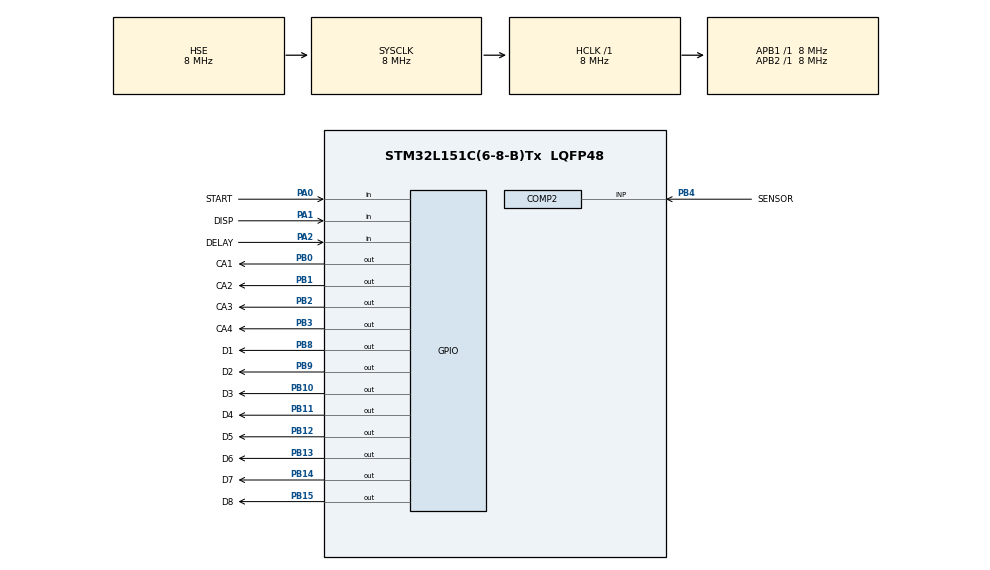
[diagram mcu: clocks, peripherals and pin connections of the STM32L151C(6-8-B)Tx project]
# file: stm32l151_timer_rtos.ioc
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COMP2.InvertingInput=COMP_INVERTINGINPUT_VREFINT
COMP2.NonInvertingInput=COMP_NONINVERTINGINPUT_PB4
FREERTOS.BinarySemaphores01=captureSem
FREERTOS.HEAP_NUMBER=1
FREERTOS.INCLUDE_xTaskAbortDelay=0
FREERTOS.INCLUDE_xTaskGetHandle=0
FREERTOS.MEMORY_ALLOCATION=0
FREERTOS.Mutexes01=counterMutex
FREERTOS.Queues01=buttonQueue,1,uint16_t,NULL,Dynamic,NULL,NULL;counterQueue,1,uint16_t,NULL,Dynamic,NULL,NULL;captureQueue,1,uint16_t,NULL,Dynamic,NULL,NULL
FREERTOS.Tasks01=mainTask,0,128,StartMainTask,Default,NULL,Dynamic,NULL,NULL;buttonTask,-2,128,StartButtonTask,Default,NULL,Dynamic,NULL,NULL;counterTask,1,128,StartCounterTask,Default,NULL,Dynamic,NULL,NULL;captureTask,1,128,StartCaptureTask,Default,NULL,Dynamic,NULL,NULL
FREERTOS.configTOTAL_HEAP_SIZE=4096
FREERTOS.configUSE_DAEMON_TASK_STARTUP_HOOK=0
Mcu.Family=STM32L1
Mcu.Name=STM32L151C(6-8-B)Tx
Mcu.Package=LQFP48
NVIC.PriorityGroup=NVIC_PRIORITYGROUP_4
NVIC.TIM3_IRQn=true\:6\:0\:true\:false\:true\:true
NVIC.TIM4_IRQn=true\:5\:0\:false\:false\:true\:true
PA0-WKUP1.GPIO_Label=START
PA0-WKUP1.GPIO_Mode=GPIO_MODE_INPUT
PA0-WKUP1.GPIO_PuPd=GPIO_PULLUP
PA0-WKUP1.Signal=GPIO_Input
PA1.GPIO_Label=DISP
PA1.GPIO_Mode=GPIO_MODE_INPUT
PA1.GPIO_PuPd=GPIO_PULLUP
PA1.Signal=GPIO_Input
PA13.GPIO_Label=SWDIO
PA13.Mode=Serial_Wire
PA13.Signal=SYS_JTMS-SWDIO
PA14.GPIO_Label=SWCLK
PA14.Mode=Serial_Wire
PA14.Signal=SYS_JTCK-SWCLK
PA2.GPIO_Label=DELAY
PA2.GPIO_Mode=GPIO_MODE_INPUT
PA2.GPIO_PuPd=GPIO_PULLUP
PA2.Signal=GPIO_Input
PB0.GPIO_Label=CA1
PB0.Signal=GPIO_Output
PB1.GPIO_Label=CA2
PB1.Signal=GPIO_Output
PB10.GPIO_Label=D3
PB10.Signal=GPIO_Output
PB11.GPIO_Label=D4
PB11.Signal=GPIO_Output
PB12.GPIO_Label=D5
PB12.Signal=GPIO_Output
PB13.GPIO_Label=D6
PB13.Signal=GPIO_Output
PB14.GPIO_Label=D7
PB14.Signal=GPIO_Output
PB15.GPIO_Label=D8
PB15.Signal=GPIO_Output
PB2.GPIO_Label=CA3
PB2.Signal=GPIO_Output
PB3.GPIO_Label=CA4
PB3.Signal=GPIO_Output
PB4.GPIO_Label=SENSOR
PB4.Mode=INP
PB4.Signal=COMP2_INP
PB8.GPIO_Label=D1
PB8.Signal=GPIO_Output
PB9.GPIO_Label=D2
PB9.Signal=GPIO_Output
PH0-OSC_IN.GPIO_Label=OSC_IN
PH0-OSC_IN.Mode=HSE-External-Oscillator
PH0-OSC_IN.Signal=RCC_OSC_IN
PH1-OSC_OUT.GPIO_Label=OSC_OUT
PH1-OSC_OUT.Mode=HSE-External-Oscillator
PH1-OSC_OUT.Signal=RCC_OSC_OUT
ProjectManager.HeapSize=0x200
ProjectManager.StackSize=0x400
ProjectManager.TargetToolchain=SW4STM32
RCC.ADCEnable=false
RCC.AHBFreq_Value=8000000
RCC.APB1Freq_Value=8000000
RCC.APB1TimFreq_Value=8000000
RCC.APB2Freq_Value=8000000
RCC.APB2TimFreq_Value=8000000
RCC.EnableCSSLSE=false
RCC.EnableHSE=true
RCC.EnableHSELCDDevisor=false
RCC.EnableHSERTCDevisor=false
RCC.EnableLSE=false
RCC.EnableLSERTC=false
RCC.EnbaleCSS=false
RCC.HCLKFreq_Value=8000000
RCC.HSEState=RCC_HSE_ON
RCC.HSE_VALUE=8000000
RCC.HSI_VALUE=16000000
RCC.IWDGEnable=false
RCC.LCDEnable=false
RCC.LSE_VALUE=32768
RCC.LSIState=RCC_LSI_OFF
RCC.MCOEnable=false
RCC.MSI_VALUE=2097000
RCC.OscillatorTypeHSE=RCC_OSCILLATORTYPE_HSE
RCC.OscillatorTypeMSI=RCC_OSCILLATORTYPE_MSI
RCC.PLLSource=RCC_PLLSOURCE_HSI
RCC.PLLSourceVirtual=RCC_PLLSOURCE_HSI
RCC.PLLState=RCC_PLL_OFF
RCC.RTCEnable=false
RCC.SYSCLKFreq_VALUE=8000000
RCC.SYSCLKSource=RCC_SYSCLKSOURCE_HSE
RCC.USBEnable=false
RCC.VCOOutputFreq_Value=48000000
TIM3.Channel-Output\ Compare1\ No\ Output=TIM_CHANNEL_1
TIM3.Channel-Output\ Compare2\ No\ Output=TIM_CHANNEL_2
TIM3.Channel-Output\ Compare3\ No\ Output=TIM_CHANNEL_3
TIM3.Channel-Output\ Compare4\ No\ Output=TIM_CHANNEL_4
TIM3.DefaultOCFastMode-Output\ Compare1\ No\ Output=TIM_OCFAST_DISABLE
TIM3.DefaultOCFastMode-Output\ Compare2\ No\ Output=TIM_OCFAST_DISABLE
TIM3.DefaultOCFastMode-Output\ Compare3\ No\ Output=TIM_OCFAST_DISABLE
TIM3.DefaultOCFastMode-Output\ Compare4\ No\ Output=TIM_OCFAST_DISABLE
TIM3.Period=100-1
TIM3.Prescaler=800-1
TIM3.Pulse-Output\ Compare1\ No\ Output=12-1
TIM3.Pulse-Output\ Compare2\ No\ Output=37-1
TIM3.Pulse-Output\ Compare3\ No\ Output=62-1
TIM3.Pulse-Output\ Compare4\ No\ Output=87-1
TIM3.TIM_MasterOutputTrigger=TIM_TRGO_UPDATE
TIM4.Period=60000-1
VP_COMP2_VS_VREFINT.Mode=VREFINT
VP_FREERTOS_VS_ENABLE.Mode=Enabled
VP_TIM3_VS_ClockSourceINT.Mode=Internal
VP_TIM3_VS_no_output1.Mode=Output Compare1 No Output
VP_TIM3_VS_no_output2.Mode=Output Compare2 No Output
VP_TIM3_VS_no_output3.Mode=Output Compare3 No Output
VP_TIM3_VS_no_output4.Mode=Output Compare4 No Output
VP_TIM4_VS_ClockSourceITR.Mode=TriggerSource_ITR2
VP_TIM4_VS_ControllerModeClock.Mode=Clock Mode
board=stm32l151_timer_rtos

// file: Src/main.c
/**
  ******************************************************************************
  * File Name          : main.c
  * Description        : Main program body
  ******************************************************************************
  *
  * Copyright (c) 2017 STMicroelectronics International N.V.
  * All rights reserved.
  *
  * Redistribution and use in source and binary forms, with or without
  * modification, are permitted, provided that the following conditions are met:
  *
  * 1. Redistribution of source code must retain the above copyright notice,
  *    this list of conditions and the following disclaimer.
  * 2. Redistributions in binary form must reproduce the above copyright notice,
  *    this list of conditions and the following disclaimer in the documentation
  *    and/or other materials provided with the distribution.
  * 3. Neither the name of STMicroelectronics nor the names of other
  *    contributors to this software may be used to endorse or promote products
  *    derived from this software without specific written permission.
  * 4. This software, including modifications and/or derivative works of this
  *    software, must execute solely and exclusively on microcontroller or
  *    microprocessor devices manufactured by or for STMicroelectronics.
  * 5. Redistribution and use of this software other than as permitted under
  *    this license is void and will automatically terminate your rights under
  *    this license.
  *
  * THIS SOFTWARE IS PROVIDED BY STMICROELECTRONICS AND CONTRIBUTORS "AS IS"
  * AND ANY EXPRESS, IMPLIED OR STATUTORY WARRANTIES, INCLUDING, BUT NOT
  * LIMITED TO, THE IMPLIED WARRANTIES OF MERCHANTABILITY, FITNESS FOR A
  * PARTICULAR PURPOSE AND NON-INFRINGEMENT OF THIRD PARTY INTELLECTUAL PROPERTY
  * RIGHTS ARE DISCLAIMED TO THE FULLEST EXTENT PERMITTED BY LAW. IN NO EVENT
  * SHALL STMICROELECTRONICS OR CONTRIBUTORS BE LIABLE FOR ANY DIRECT, INDIRECT,
  * INCIDENTAL, SPECIAL, EXEMPLARY, OR CONSEQUENTIAL DAMAGES (INCLUDING, BUT NOT
  * LIMITED TO, PROCUREMENT OF SUBSTITUTE GOODS OR SERVICES; LOSS OF USE, DATA,
  * OR PROFITS; OR BUSINESS INTERRUPTION) HOWEVER CAUSED AND ON ANY THEORY OF
  * LIABILITY, WHETHER IN CONTRACT, STRICT LIABILITY, OR TORT (INCLUDING
  * NEGLIGENCE OR OTHERWISE) ARISING IN ANY WAY OUT OF THE USE OF THIS SOFTWARE,
  * EVEN IF ADVISED OF THE POSSIBILITY OF SUCH DAMAGE.
  *
  ******************************************************************************
  */
#include "main.h"
#include "stm32l1xx_hal.h"
#include "cmsis_os.h"

/* USER CODE BEGIN Includes */

typedef uint8_t bool;
#define false 0
#define true (!false)

#define MESSAGE_BUTTON_START 0
#define MESSAGE_BUTTON_DISP  1
#define MESSAGE_EXIT_RUN    99

/* USER CODE END Includes */

COMP_HandleTypeDef hcomp2;

TIM_HandleTypeDef htim3;
TIM_HandleTypeDef htim4;

osThreadId mainTaskHandle;
osThreadId buttonTaskHandle;
osThreadId counterTaskHandle;
osThreadId captureTaskHandle;
osMessageQId buttonQueueHandle;
osMessageQId counterQueueHandle;
osMessageQId captureQueueHandle;
osMutexId counterMutexHandle;
osSemaphoreId captureSemHandle;

/* USER CODE BEGIN PV */
/* Private variables ---------------------------------------------------------*/

/* USER CODE END PV */

void SystemClock_Config(void);
void Error_Handler(void);
static void MX_GPIO_Init(void);
static void MX_TIM3_Init(void);
static void MX_TIM4_Init(void);
static void MX_COMP2_Init(void);
void StartMainTask(void const * argument);
void StartButtonTask(void const * argument);
void StartCounterTask(void const * argument);
void StartCaptureTask(void const * argument);

/* USER CODE BEGIN PFP */
/* Private function prototypes -----------------------------------------------*/
const uint16_t digdata[] = {0xe700, 0x2100, 0xcb00, 0x6b00, 0x2d00, 0x6e00, 0xee00, 0x2300, 0xef00, 0x6f00};
const uint32_t resetdigit = 0xff00000f;

__IO uint16_t leddat[] = {0x0000, 0x0000, 0x0000, 0x0000};

__IO uint16_t counts[10] = {0};
__IO uint32_t count_num;

/* USER CODE END PFP */

/* USER CODE BEGIN 0 */
void HAL_TIM_OC_DelayElapsedCallback(TIM_HandleTypeDef *htim)
{
  if (htim->Instance == TIM3) {
    if (htim->Channel == HAL_TIM_ACTIVE_CHANNEL_1) {
      GPIOB->BSRR = resetdigit;
      GPIOB->BSRR = leddat[0] | 0x00010000;
    } else
    if (htim->Channel == HAL_TIM_ACTIVE_CHANNEL_2) {
      GPIOB->BSRR = resetdigit;
      GPIOB->BSRR = leddat[1] | 0x00020000;
    } else
    if (htim->Channel == HAL_TIM_ACTIVE_CHANNEL_3) {
      GPIOB->BSRR = resetdigit;
      GPIOB->BSRR = leddat[2] | 0x00040000;
    } else
    if (htim->Channel == HAL_TIM_ACTIVE_CHANNEL_4) {
      GPIOB->BSRR = resetdigit;
      GPIOB->BSRR = leddat[3] | 0x00080000;
    }
  }
}

void HAL_TIM_PeriodElapsedCallback(TIM_HandleTypeDef *htim)
{
  if (htim->Instance == TIM3) {
    uint16_t cnt = __HAL_TIM_GET_COUNTER(&htim4);
    if (cnt >= 60000) {
      cnt -= 50000;
      __HAL_TIM_SET_COUNTER(&htim4, cnt);
    }
    osMessagePut(counterQueueHandle, cnt, 0);
  }
}

void HAL_TIM_IC_CaptureCallback(TIM_HandleTypeDef *htim)
{
  if (htim->Instance == TIM4) {
    if (htim->Channel == HAL_TIM_ACTIVE_CHANNEL_4) {
      TIM4->CCER &= ~(TIM_CCER_CC4E);
      TIM4->DIER &= ~(TIM_DIER_CC4IE);

      uint16_t cnt = __HAL_TIM_GET_COMPARE(&htim4, TIM_CHANNEL_4);
      osMessagePut(captureQueueHandle, cnt, 0);
    }
  }
}

void set_led(uint16_t cnt)
{
  leddat[0] = digdata[cnt % 10];
  leddat[1] = digdata[(cnt / 10) % 10];
  leddat[2] = digdata[(cnt / 100) % 10] | 0x1000;
  if (cnt >= 1000) {
    leddat[3] = digdata[(cnt / 1000) % 10];
  } else {
    leddat[3] = 0;
  }
}

void set_led_blink(uint16_t cnt, bool dot)
{
  leddat[0] = digdata[cnt % 10];
  leddat[1] = digdata[(cnt / 10) % 10];
  if (dot) {
    leddat[2] = digdata[(cnt / 100) % 10] | 0x1000;
  } else {
    leddat[2] = digdata[(cnt / 100) % 10];
  }
  if (cnt >= 1000) {
    leddat[3] = digdata[(cnt / 1000) % 10];
  } else {
    leddat[3] = 0;
  }
}
/* USER CODE END 0 */

int main(void)
{

  /* MCU Configuration----------------------------------------------------------*/

  /* Reset of all peripherals, Initializes the Flash interface and the Systick. */
  HAL_Init();

  /* Configure the system clock */
  SystemClock_Config();

  /* Initialize all configured peripherals */
  MX_GPIO_Init();
  MX_TIM3_Init();

  /* USER CODE BEGIN 2 */

  HAL_TIM_Base_Start(&htim3);
  __HAL_TIM_CLEAR_IT(&htim3, TIM_IT_UPDATE | TIM_IT_CC1 | TIM_IT_CC2 | TIM_IT_CC3 | TIM_IT_CC4);
  __HAL_TIM_ENABLE_IT(&htim3, TIM_IT_CC1);
  __HAL_TIM_ENABLE_IT(&htim3, TIM_IT_CC2);
  __HAL_TIM_ENABLE_IT(&htim3, TIM_IT_CC3);
  __HAL_TIM_ENABLE_IT(&htim3, TIM_IT_CC4);

  /* USER CODE END 2 */

  /* Create the mutex(es) */
  /* definition and creation of counterMutex */
  osMutexDef(counterMutex);
  counterMutexHandle = osMutexCreate(osMutex(counterMutex));

  /* Create the semaphores(s) */
  /* definition and creation of captureSem */
  osSemaphoreDef(captureSem);
  captureSemHandle = osSemaphoreCreate(osSemaphore(captureSem), 1);

  /* Create the thread(s) */
  /* definition and creation of mainTask */
  osThreadDef(mainTask, StartMainTask, osPriorityNormal, 0, 128);
  mainTaskHandle = osThreadCreate(osThread(mainTask), NULL);

  /* definition and creation of buttonTask */
  osThreadDef(buttonTask, StartButtonTask, osPriorityLow, 0, 128);
  buttonTaskHandle = osThreadCreate(osThread(buttonTask), NULL);

  /* definition and creation of counterTask */
  osThreadDef(counterTask, StartCounterTask, osPriorityAboveNormal, 0, 128);
  counterTaskHandle = osThreadCreate(osThread(counterTask), NULL);

  /* definition and creation of captureTask */
  osThreadDef(captureTask, StartCaptureTask, osPriorityAboveNormal, 0, 128);
  captureTaskHandle = osThreadCreate(osThread(captureTask), NULL);

  /* Create the queue(s) */
  /* definition and creation of buttonQueue */
  osMessageQDef(buttonQueue, 1, uint16_t);
  buttonQueueHandle = osMessageCreate(osMessageQ(buttonQueue), NULL);

  /* definition and creation of counterQueue */
  osMessageQDef(counterQueue, 1, uint16_t);
  counterQueueHandle = osMessageCreate(osMessageQ(counterQueue), NULL);

  /* definition and creation of captureQueue */
  osMessageQDef(captureQueue, 1, uint16_t);
  captureQueueHandle = osMessageCreate(osMessageQ(captureQueue), NULL);

  /* Start scheduler */
  osKernelStart();

  /* We should never get here as control is now taken by the scheduler */

  /* Infinite loop */
  while (1)
  {

  }

}

/** System Clock Configuration
*/
void SystemClock_Config(void)
{

  RCC_OscInitTypeDef RCC_OscInitStruct;
  RCC_ClkInitTypeDef RCC_ClkInitStruct;

    /**Configure the main internal regulator output voltage
    */
  __HAL_PWR_VOLTAGESCALING_CONFIG(PWR_REGULATOR_VOLTAGE_SCALE1);

    /**Initializes the CPU, AHB and APB busses clocks
    */
  RCC_OscInitStruct.OscillatorType = RCC_OSCILLATORTYPE_HSE;
  RCC_OscInitStruct.HSEState = RCC_HSE_ON;
  RCC_OscInitStruct.PLL.PLLState = RCC_PLL_NONE;
  if (HAL_RCC_OscConfig(&RCC_OscInitStruct) != HAL_OK)
  {
    Error_Handler();
  }

    /**Initializes the CPU, AHB and APB busses clocks
    */
  RCC_ClkInitStruct.ClockType = RCC_CLOCKTYPE_HCLK|RCC_CLOCKTYPE_SYSCLK
                              |RCC_CLOCKTYPE_PCLK1|RCC_CLOCKTYPE_PCLK2;
  RCC_ClkInitStruct.SYSCLKSource = RCC_SYSCLKSOURCE_HSE;
  RCC_ClkInitStruct.AHBCLKDivider = RCC_SYSCLK_DIV1;
  RCC_ClkInitStruct.APB1CLKDivider = RCC_HCLK_DIV1;
  RCC_ClkInitStruct.APB2CLKDivider = RCC_HCLK_DIV1;

  if (HAL_RCC_ClockConfig(&RCC_ClkInitStruct, FLASH_LATENCY_0) != HAL_OK)
  {
    Error_Handler();
  }

    /**Configure the Systick interrupt time
    */
  HAL_SYSTICK_Config(HAL_RCC_GetHCLKFreq()/1000);

    /**Configure the Systick
    */
  HAL_SYSTICK_CLKSourceConfig(SYSTICK_CLKSOURCE_HCLK);

  /* SysTick_IRQn interrupt configuration */
  HAL_NVIC_SetPriority(SysTick_IRQn, 15, 0);
}

/* COMP2 init function */
static void MX_COMP2_Init(void)
{

  hcomp2.Instance = COMP2;
  hcomp2.Init.InvertingInput = COMP_INVERTINGINPUT_VREFINT;
  hcomp2.Init.NonInvertingInput = COMP_NONINVERTINGINPUT_PB4;
  hcomp2.Init.Output = COMP_OUTPUT_TIM4IC4;
  hcomp2.Init.Mode = COMP_MODE_LOWSPEED;
  hcomp2.Init.WindowMode = COMP_WINDOWMODE_DISABLE;
  hcomp2.Init.TriggerMode = COMP_TRIGGERMODE_IT_RISING;
  if (HAL_COMP_Init(&hcomp2) != HAL_OK)
  {
    Error_Handler();
  }

}

/* TIM3 init function */
static void MX_TIM3_Init(void)
{

  TIM_ClockConfigTypeDef sClockSourceConfig;
  TIM_MasterConfigTypeDef sMasterConfig;
  TIM_OC_InitTypeDef sConfigOC;

  htim3.Instance = TIM3;
  htim3.Init.Prescaler = 800-1;
  htim3.Init.CounterMode = TIM_COUNTERMODE_UP;
  htim3.Init.Period = 100-1;
  htim3.Init.ClockDivision = TIM_CLOCKDIVISION_DIV1;
  if (HAL_TIM_Base_Init(&htim3) != HAL_OK)
  {
    Error_Handler();
  }

  sClockSourceConfig.ClockSource = TIM_CLOCKSOURCE_INTERNAL;
  if (HAL_TIM_ConfigClockSource(&htim3, &sClockSourceConfig) != HAL_OK)
  {
    Error_Handler();
  }

  if (HAL_TIM_OC_Init(&htim3) != HAL_OK)
  {
    Error_Handler();
  }

  sMasterConfig.MasterOutputTrigger = TIM_TRGO_UPDATE;
  sMasterConfig.MasterSlaveMode = TIM_MASTERSLAVEMODE_DISABLE;
  if (HAL_TIMEx_MasterConfigSynchronization(&htim3, &sMasterConfig) != HAL_OK)
  {
    Error_Handler();
  }

  sConfigOC.OCMode = TIM_OCMODE_TIMING;
  sConfigOC.Pulse = 12-1;
  sConfigOC.OCPolarity = TIM_OCPOLARITY_HIGH;
  sConfigOC.OCFastMode = TIM_OCFAST_DISABLE;
  if (HAL_TIM_OC_ConfigChannel(&htim3, &sConfigOC, TIM_CHANNEL_1) != HAL_OK)
  {
    Error_Handler();
  }

  sConfigOC.Pulse = 37-1;
  if (HAL_TIM_OC_ConfigChannel(&htim3, &sConfigOC, TIM_CHANNEL_2) != HAL_OK)
  {
    Error_Handler();
  }

  sConfigOC.Pulse = 62-1;
  if (HAL_TIM_OC_ConfigChannel(&htim3, &sConfigOC, TIM_CHANNEL_3) != HAL_OK)
  {
    Error_Handler();
  }

  sConfigOC.Pulse = 87-1;
  if (HAL_TIM_OC_ConfigChannel(&htim3, &sConfigOC, TIM_CHANNEL_4) != HAL_OK)
  {
    Error_Handler();
  }

}

/* TIM4 init function */
static void MX_TIM4_Init(void)
{

  TIM_SlaveConfigTypeDef sSlaveConfig;
  TIM_MasterConfigTypeDef sMasterConfig;
  TIM_IC_InitTypeDef sConfigIC;

  htim4.Instance = TIM4;
  htim4.Init.Prescaler = 0;
  htim4.Init.CounterMode = TIM_COUNTERMODE_UP;
  htim4.Init.Period = 65536 - 1;
  htim4.Init.ClockDivision = TIM_CLOCKDIVISION_DIV1;
  if (HAL_TIM_Base_Init(&htim4) != HAL_OK)
  {
    Error_Handler();
  }

  sSlaveConfig.SlaveMode = TIM_SLAVEMODE_EXTERNAL1;
  sSlaveConfig.InputTrigger = TIM_TS_ITR2;
  if (HAL_TIM_SlaveConfigSynchronization(&htim4, &sSlaveConfig) != HAL_OK)
  {
    Error_Handler();
  }

  if (HAL_TIM_IC_Init(&htim4) != HAL_OK)
  {
    Error_Handler();
  }

  sMasterConfig.MasterOutputTrigger = TIM_TRGO_RESET;
  sMasterConfig.MasterSlaveMode = TIM_MASTERSLAVEMODE_DISABLE;
  if (HAL_TIMEx_MasterConfigSynchronization(&htim4, &sMasterConfig) != HAL_OK)
  {
    Error_Handler();
  }

  sConfigIC.ICPolarity = TIM_INPUTCHANNELPOLARITY_RISING;
  sConfigIC.ICSelection = TIM_ICSELECTION_DIRECTTI;
  sConfigIC.ICPrescaler = TIM_ICPSC_DIV1;
  sConfigIC.ICFilter = 0;
  if (HAL_TIM_IC_ConfigChannel(&htim4, &sConfigIC, TIM_CHANNEL_4) != HAL_OK)
  {
    Error_Handler();
  }
}

/** Configure pins as
        * Analog
        * Input
        * Output
        * EVENT_OUT
        * EXTI
*/
static void MX_GPIO_Init(void)
{

  GPIO_InitTypeDef GPIO_InitStruct;

  /* GPIO Ports Clock Enable */
  __HAL_RCC_GPIOH_CLK_ENABLE();
  __HAL_RCC_GPIOA_CLK_ENABLE();
  __HAL_RCC_GPIOB_CLK_ENABLE();

  /*Configure GPIO pin Output Level */
  HAL_GPIO_WritePin(GPIOB, CA1_Pin|CA2_Pin|CA3_Pin|D3_Pin
                          |D4_Pin|D5_Pin|D6_Pin|D7_Pin
                          |D8_Pin|CA4_Pin|D1_Pin|D2_Pin, GPIO_PIN_RESET);

  /*Configure GPIO pins : START_Pin DISP_Pin DELAY_Pin */
  GPIO_InitStruct.Pin = START_Pin|DISP_Pin|DELAY_Pin;
  GPIO_InitStruct.Mode = GPIO_MODE_INPUT;
  GPIO_InitStruct.Pull = GPIO_PULLUP;
  HAL_GPIO_Init(GPIOA, &GPIO_InitStruct);

  /*Configure GPIO pins : CA1_Pin CA2_Pin CA3_Pin D3_Pin
                           D4_Pin D5_Pin D6_Pin D7_Pin
                           D8_Pin CA4_Pin D1_Pin D2_Pin */
  GPIO_InitStruct.Pin = CA1_Pin|CA2_Pin|CA3_Pin|D3_Pin
                          |D4_Pin|D5_Pin|D6_Pin|D7_Pin
                          |D8_Pin|CA4_Pin|D1_Pin|D2_Pin;
  GPIO_InitStruct.Mode = GPIO_MODE_OUTPUT_PP;
  GPIO_InitStruct.Pull = GPIO_NOPULL;
  GPIO_InitStruct.Speed = GPIO_SPEED_FREQ_LOW;
  HAL_GPIO_Init(GPIOB, &GPIO_InitStruct);

}

/* StartMainTask function */
void StartMainTask(void const * argument)
{

  /* USER CODE BEGIN 5 */
  uint32_t disp_num = 0;
  count_num = 0;
  set_led(0);

  /* Infinite loop */
  for(;;)
  {
    osEvent evt = osMessageGet(buttonQueueHandle, 180000);

    if (evt.status == osEventMessage) {
      if (evt.value.v == MESSAGE_BUTTON_START) {
        count_num = 0;
        set_led(0);

        MX_TIM4_Init();

        __HAL_TIM_DISABLE(&htim3);

        /* Generate an update event to reload the Prescaler */
        TIM3->EGR = TIM_EGR_UG;
        __HAL_TIM_CLEAR_IT(&htim3, TIM_IT_UPDATE | TIM_IT_CC1 | TIM_IT_CC2 | TIM_IT_CC3 | TIM_IT_CC4);
        __HAL_TIM_ENABLE_IT(&htim3, TIM_IT_UPDATE);

        HAL_TIM_Base_Start(&htim4);
        __HAL_TIM_CLEAR_IT(&htim4, TIM_IT_UPDATE | TIM_IT_CC1 | TIM_IT_CC2 | TIM_IT_CC3 | TIM_IT_CC4);

        __HAL_TIM_SET_COUNTER(&htim4, 0);

        /* Comparator rising event -> TIM4 IC4 -> ISR */
        MX_COMP2_Init();
        HAL_COMP_Start(&hcomp2);

        osSemaphoreWait(captureSemHandle, osWaitForever);

        /* Enable the Input Capture channel */
        TIM4->CCER |= TIM_CCER_CC4E;
        TIM4->DIER |= TIM_DIER_CC4IE;

        /* Start Counter Now! */
        __HAL_TIM_ENABLE(&htim3);

        /* running... wait button or timeout */
        evt = osMessageGet(buttonQueueHandle, osWaitForever);

        osSemaphoreRelease(captureSemHandle);

        TIM4->CCER &= ~(TIM_CCER_CC4E);
        TIM4->DIER &= ~(TIM_DIER_CC4IE);

        HAL_COMP_Stop(&hcomp2);
        HAL_COMP_DeInit(&hcomp2);

        __HAL_TIM_DISABLE_IT(&htim3, TIM_IT_UPDATE);
        HAL_TIM_Base_Stop(&htim4);
        HAL_TIM_Base_DeInit(&htim4);

        if (count_num) {
          disp_num = 1;
          set_led(counts[1]);
        } else {
          disp_num = 0;
          set_led(0);
        }
      }
      else
      if (count_num && evt.value.v == MESSAGE_BUTTON_DISP) {
        if (++disp_num > count_num) disp_num = 1;
        set_led(counts[disp_num]);
      }
    }
  }
  /* USER CODE END 5 */
}

/* StartButtonTask function */
void StartButtonTask(void const * argument)
{
  /* USER CODE BEGIN StartButtonTask */
  uint8_t sw_start = 0x00;
  uint8_t sw_disp = 0x00;

  /* Infinite loop */
  for(;;)
  {
    osDelay(10);
    sw_start <<= 1;
    if (HAL_GPIO_ReadPin(START_GPIO_Port, START_Pin)) sw_start |= 1;
    sw_disp <<= 1;
    if (HAL_GPIO_ReadPin(DISP_GPIO_Port, DISP_Pin)) sw_disp |= 1;

    if (sw_start == 0xfe) {
      osMessagePut(buttonQueueHandle, MESSAGE_BUTTON_START, 10);
    }
    if (sw_disp == 0xfe) {
      osMessagePut(buttonQueueHandle, MESSAGE_BUTTON_DISP, 10);
    }
  }
  /* USER CODE END StartButtonTask */
}

/* StartCounterTask function */
void StartCounterTask(void const * argument)
{
  /* USER CODE BEGIN StartCounterTask */
  /* Infinite loop */
  for(;;)
  {
    osEvent evt = osMessageGet(counterQueueHandle, osWaitForever);

    if (evt.status == osEventMessage) {
      uint16_t cnt = evt.value.v;

      osMutexWait(counterMutexHandle, osWaitForever);
      if (count_num) {
        set_led_blink(counts[count_num], ((cnt % 100) < 50));
      } else {
        set_led_blink(cnt, ((cnt % 100) < 50));
      }
      osMutexRelease(counterMutexHandle);
    }

  }
  /* USER CODE END StartCounterTask */
}

/* StartCaptureTask function */
void StartCaptureTask(void const * argument)
{
  /* USER CODE BEGIN StartCaptureTask */
  /* Infinite loop */
  for(;;)
  {
    osEvent evt = osMessageGet(captureQueueHandle, osWaitForever);

    if (evt.status == osEventMessage) {
      uint16_t cnt = evt.value.v;

      osMutexWait(counterMutexHandle, osWaitForever);
      volatile uint32_t cn = count_num;
      if (cn < 9) {
        counts[++cn] = cnt;
        count_num = cn;
      }
      osMutexRelease(counterMutexHandle);

      if (cn == 9) {
        osMessagePut(buttonQueueHandle, MESSAGE_EXIT_RUN, osWaitForever);
      } else {
        if (osSemaphoreWait(captureSemHandle, 100) != osOK) {
          TIM4->CCER |= TIM_CCER_CC4E;
          TIM4->DIER |= TIM_DIER_CC4IE;
        } else {
          osSemaphoreRelease(captureSemHandle);
        }
      }
    }
  }
  /* USER CODE END StartCaptureTask */
}

void Error_Handler(void)
{
  while(1)
  {
  }
}

/************************ (C) COPYRIGHT STMicroelectronics *****END OF FILE****/
